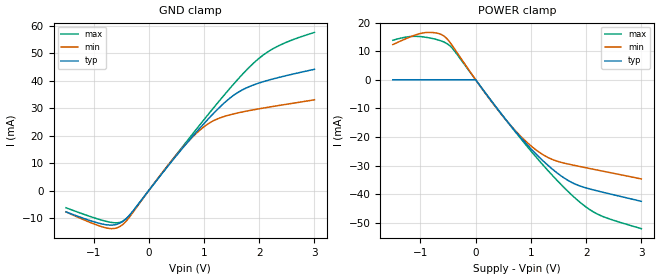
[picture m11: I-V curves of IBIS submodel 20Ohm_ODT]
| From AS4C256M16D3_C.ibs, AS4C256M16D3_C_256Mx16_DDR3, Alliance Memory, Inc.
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[Submodel]  20Ohm_ODT
Submodel_type   Dynamic_clamp
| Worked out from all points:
|   GND clamp passes 1 mA (typ) near -0.04 V on its own axis
[GND Clamp]
|   Voltage   I(typ)   I(min)   I(max)
-1.5V     -7.756mA   -7.775mA   -6.272mA
-725mV    -12.55mA   -13.77mA   -11.42mA
-575mV    -12.27mA   -13.57mA   -11.75mA
-425mV    -10.52mA   -11.5mA    -10.53mA
-275mV    -7.176mA   -7.628mA   -7.245mA
525mV     13.28mA    13.56mA    13.7mA
825mV     20.41mA    20.1mA     21.37mA
1.075V    25.99mA    24.27mA    27.64mA
1.575V    35.17mA    28.05mA    39.59mA
2.025V    39.28mA    29.82mA    48.54mA
2.375V    41.23mA    30.99mA    52.88mA
3V        44.08mA    33.01mA    57.51mA
[POWER Clamp]
|   Voltage   I(typ)   I(min)   I(max)
-1.5V     0A         12.31mA    13.81mA
-975mV    0A         16.3mA     15.05mA
-625mV    0A         15.86mA    13.6mA
-425mV    0A         12.01mA    11.07mA
0V        0A         432.6pA    1.245nA
675mV     -16.99mA   -16.88mA   -17.16mA
975mV     -23.61mA   -22.69mA   -24.31mA
1.225V    -28.45mA   -26.29mA   -29.94mA
1.675V    -35.24mA   -29.48mA   -39.12mA
2.075V    -38.24mA   -31.09mA   -45.54mA
2.375V    -39.68mA   -32.25mA   -48.36mA
3V        -42.53mA   -34.7mA    -52.09mA
